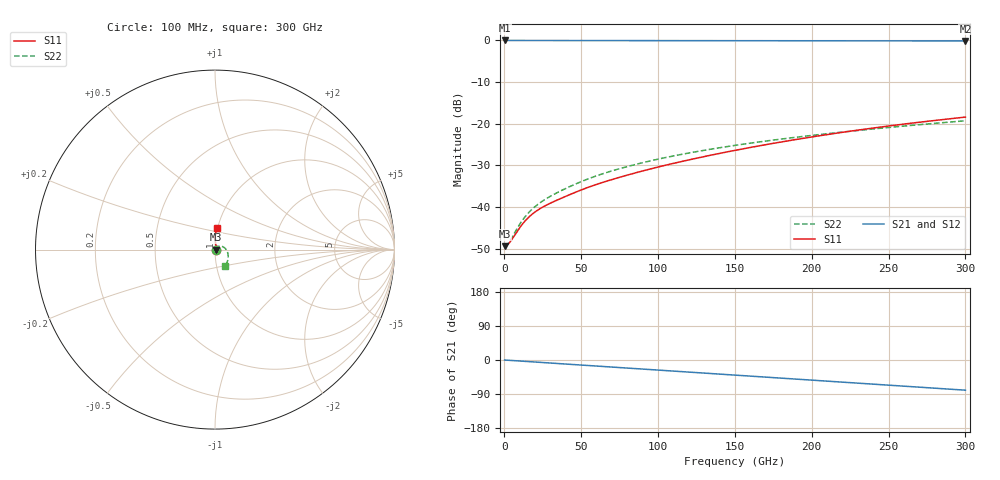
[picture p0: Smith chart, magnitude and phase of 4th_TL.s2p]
#  Hz  S  RI  R  50
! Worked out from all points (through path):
!   3000 points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, 100 MHz to 300 GHz, reference 50 ohm
!   highest |S21| = -0.03 dB at 100 MHz (marker M1); lowest = -0.1 dB at 300 GHz (marker M2)
!   group delay of S21, straight-line fit = 736 fs
!   lowest |S11| = -49.4 dB at 100 MHz (marker M3), VSWR 1.01, Z = 50.3 + j0.00433 ohm
!   |S11| at or under -10 dB: start of sweep to end of sweep
!   |S22| runs from -49.4 to -19.3 dB; largest |S21 - S12| = 0.012
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1e8  0.00339 4.3e-05  0.9967 -0.000479  0.9967 -0.000474  0.0034 4.75e-05
1.6e9  0.0034 0.000687  0.9966 -0.00766  0.9966 -0.00759  0.00343 0.000758
3.1e9  0.00345 0.00133  0.9965 -0.0148  0.9965 -0.0147  0.0035 0.00146
9.3e9  0.00388 0.00381  0.9951 -0.0442  0.9951 -0.0438  0.0042 0.00421
1.29e10  0.00424 0.00509  0.9938 -0.0611  0.9938 -0.0605  0.00485 0.00561
1.63e10  0.00459 0.00617  0.9922 -0.0768  0.9923 -0.0761  0.00554 0.00678
2e10  0.00493 0.00722  0.9904 -0.0937  0.9905 -0.0929  0.00634 0.00791
2.51e10  0.00527 0.00852  0.9875 -0.1169  0.9877 -0.1158  0.00744 0.00928
3.14e10  0.00544 0.0101  0.9835 -0.1454  0.9838 -0.1441  0.00876 0.0108
4.03e10  0.0054 0.0124  0.9766 -0.1857  0.9769 -0.184  0.0107 0.013
5.01e10  0.00529 0.0152  0.9668 -0.2297  0.9674 -0.2277  0.0134 0.0152
6.02e10  0.00517 0.018  0.9547 -0.2744  0.9554 -0.2721  0.0166 0.017
7.14e10  0.0049 0.0212  0.9389 -0.3233  0.94 -0.3205  0.0205 0.0185
1.001e11  0.00371 0.03  0.8872 -0.4443  0.8891 -0.4407  0.0321 0.0194
1.233e11  0.00256 0.0378  0.8341 -0.5364  0.8369 -0.5323  0.0425 0.0166
1.501e11  0.00136 0.0478  0.7608 -0.6348  0.7647 -0.6303  0.0541 0.00914
1.753e11  0.000616 0.0582  0.6812 -0.7184  0.6863 -0.7137  0.0636 -0.00203
2.001e11  0.000605 0.0693  0.594 -0.791  0.6003 -0.7863  0.0704 -0.0166
2.25e11  0.00161 0.0812  0.4984 -0.8532  0.506 -0.8486  0.0736 -0.0341
2.501e11  0.00381 0.0937  0.3956 -0.9043  0.4045 -0.9001  0.0722 -0.0538
2.762e11  0.00779 0.1069  0.2833 -0.9439  0.2936 -0.9403  0.0653 -0.0751
3e11  0.0132 0.1191  0.1767 -0.9679  0.1883 -0.9652  0.054 -0.0939
